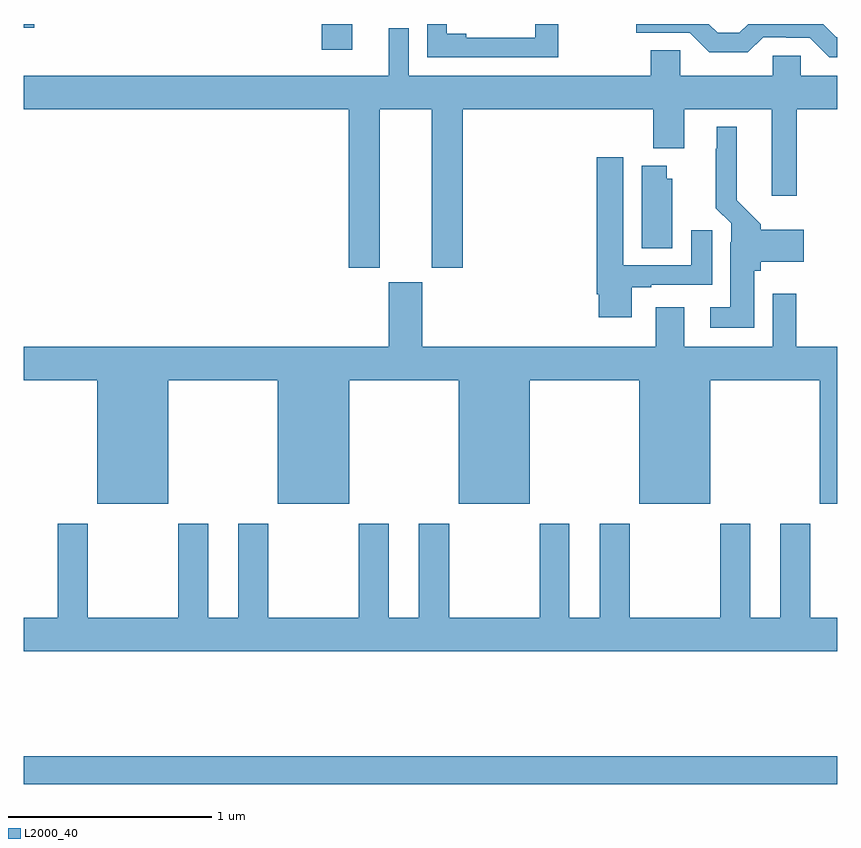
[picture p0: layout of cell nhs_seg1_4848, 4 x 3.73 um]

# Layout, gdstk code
import gdstk
lib = gdstk.Library(unit=1e-6, precision=1e-09)
def R(c, l, rs):  # rectangles x0, y0, x1, y1
    for r in rs: c.add(gdstk.rectangle(r[:2], r[2:], *l))
def P(c, l, *ps):  # polygons
    for p in ps: c.add(gdstk.Polygon(p, *l))
L2000_40 = (2000, 40)

nhs_seg1_4848 = lib.new_cell('nhs_seg1_4848')
R(nhs_seg1_4848, L2000_40, [(375,500.464,379,500.6), (376.466,504.072,376.615,504.199), (375,504.18,375.053,504.199)])
P(nhs_seg1_4848, L2000_40, [(379,504.133),(378.995,504.133),(378.929,504.199),(378.562,504.199),(378.518,504.155),(378.412,504.155),(378.368,504.199),(378.012,504.199),(378.012,504.156),(378.273,504.156),(378.37,504.059),(378.56,504.059),(378.636,504.135),(378.749,504.135),(378.749,504.132),(378.864,504.132),(378.96,504.036),(379,504.036)],
  [(377.629,504.199),(377.514,504.199),(377.514,504.132),(377.176,504.132),(377.176,504.152),(377.08,504.152),(377.08,504.199),(376.983,504.199),(376.983,504.036),(377.629,504.036)],
  [(376.75,503.78),(377.006,503.78),(377.006,503.001),(377.159,503.001),(377.159,503.78),(378.095,503.78),(378.095,503.588),(378.247,503.588),(378.247,503.78),(378.677,503.78),(378.677,503.355),(378.8,503.355),(378.8,503.78),(379,503.78),(379,503.944),(378.819,503.944),(378.819,504.042),(378.681,504.042),(378.681,503.944),(378.228,503.944),(378.228,504.071),(378.082,504.071),(378.082,503.944),(376.893,503.944),(376.893,504.178),(376.796,504.178),(376.796,503.944),(375,503.944),(375,503.78),(376.598,503.78),(376.598,503.001),(376.75,503.001)],
  [(378.592,502.986),(378.623,502.986),(378.623,503.03),(378.835,503.03),(378.835,503.188),(378.623,503.188),(378.623,503.214),(378.505,503.332),(378.505,503.695),(378.407,503.695),(378.407,503.585),(378.403,503.585),(378.403,503.294),(378.477,503.22),(378.477,503.126),(378.473,503.126),(378.473,502.807),(378.375,502.807),(378.375,502.706),(378.592,502.706)],
  [(377.989,502.905),(378.085,502.905),(378.085,502.917),(378.385,502.917),(378.385,503.185),(378.281,503.185),(378.281,503.013),(377.947,503.013),(377.947,503.545),(377.816,503.545),(377.816,502.87),(377.828,502.87),(377.828,502.758),(377.989,502.758)],
  [(378.187,503.439),(378.16,503.439),(378.16,503.503),(378.038,503.503),(378.038,503.098),(378.187,503.098)],
  [(375.712,502.448),(376.25,502.448),(376.25,501.842),(376.6,501.842),(376.6,502.448),(377.138,502.448),(377.138,501.842),(377.488,501.842),(377.488,502.448),(378.026,502.448),(378.026,501.842),(378.376,501.842),(378.376,502.448),(378.914,502.448),(378.914,501.842),(379,501.842),(379,502.612),(378.797,502.612),(378.797,502.873),(378.681,502.873),(378.681,502.612),(378.247,502.612),(378.247,502.807),(378.107,502.807),(378.107,502.612),(376.96,502.612),(376.96,502.929),(376.796,502.929),(376.796,502.612),(375,502.612),(375,502.448),(375.362,502.448),(375.362,501.842),(375.712,501.842)],
  [(379,501.28),(378.867,501.28),(378.867,501.742),(378.719,501.742),(378.719,501.28),(378.571,501.28),(378.571,501.742),(378.424,501.742),(378.424,501.28),(377.979,501.28),(377.979,501.742),(377.831,501.742),(377.831,501.28),(377.683,501.28),(377.683,501.742),(377.536,501.742),(377.536,501.28),(377.091,501.28),(377.091,501.742),(376.943,501.742),(376.943,501.28),(376.795,501.28),(376.795,501.742),(376.648,501.742),(376.648,501.28),(376.203,501.28),(376.203,501.742),(376.055,501.742),(376.055,501.28),(375.907,501.28),(375.907,501.742),(375.76,501.742),(375.76,501.28),(375.315,501.28),(375.315,501.742),(375.167,501.742),(375.167,501.28),(375,501.28),(375,501.116),(379,501.116)])

lib.write_gds('nhs_seg1_4848.gds')
